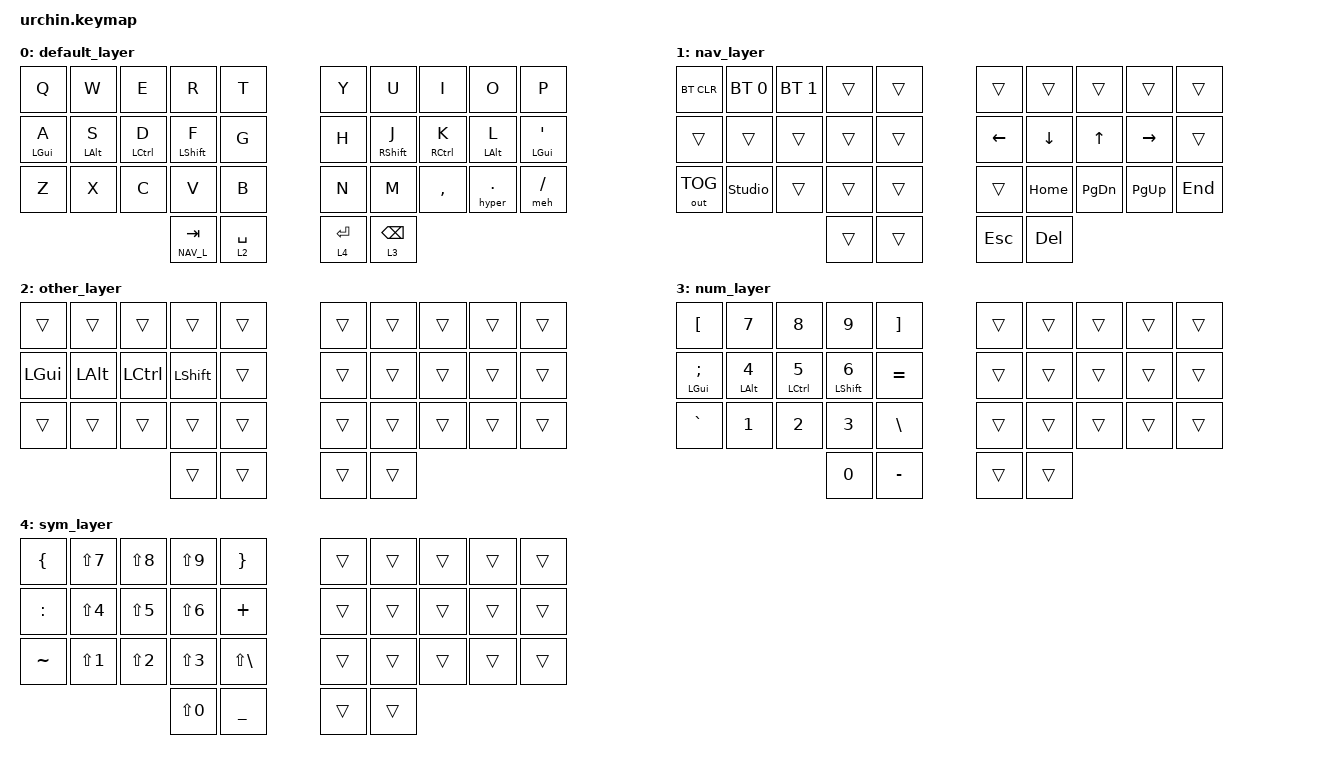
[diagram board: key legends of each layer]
/*
 * Copyright (c) 2020 The ZMK Contributors
 *
 * SPDX-License-Identifier: MIT
 */

#undef ZMK_BEHAVIORS_KEEP_ALL

#include <behaviors.dtsi>
#include <dt-bindings/zmk/bt.h>
#include <dt-bindings/zmk/keys.h>
#include <dt-bindings/zmk/outputs.h>

#define NAV_L 1
#define OTHER_L 2
#define NUM_L 3
#define SYM_L 4

// Using layer taps on thumbs, having quick tap as well helps w/ repeating space/backspace

&lt { quick-tap-ms = <150>; };

/ {
    behaviors {
        hml: homerow_mods_left {
            compatible = "zmk,behavior-hold-tap";
            #binding-cells = <2>;
            tapping-term-ms = <250>;
            flavor = "balanced";
            bindings = <&kp>, <&kp>;
            quick-tap-ms = <175>;
        };

        meh_ht: meh_ht {
            compatible = "zmk,behavior-hold-tap";
            label = "MEH_HT";
            bindings = <&meh>, <&kp>;

            #binding-cells = <2>;
            tapping-term-ms = <150>;
            flavor = "tap-preferred";
        };

        hyper_ht: hyper_ht {
            compatible = "zmk,behavior-hold-tap";
            label = "HYPER_HT";
            bindings = <&hyper>, <&kp>;

            #binding-cells = <2>;
            tapping-term-ms = <200>;
        };

        hmr: homerow_mods_right {
            compatible = "zmk,behavior-hold-tap";
            bindings = <&kp>, <&kp>;
            flavor = "balanced";
            #binding-cells = <2>;
            tapping-term-ms = <250>;
            quick-tap-ms = <175>;
        };
    };

    macros {
        meh: meh {
            compatible = "zmk,behavior-macro";
            #binding-cells = <0>;
            bindings =
                <&macro_press>,
                <&kp LCTRL &kp LSHIFT &kp LALT>,
                <&macro_pause_for_release>,
                <&macro_release>,
                <&kp LCTRL &kp LSHIFT &kp LALT>;

            label = "MEH";
        };

        esc: esc {
            compatible = "zmk,behavior-macro";
            #binding-cells = <0>;
            bindings = <&none>;
            label = "ESC";
        };

        hyper: hyper {
            compatible = "zmk,behavior-macro";
            #binding-cells = <0>;
            bindings =
                <&macro_press>,
                <&meh &kp LEFT_GUI>,
                <&macro_pause_for_release>,
                <&macro_release>,
                <&meh &kp LEFT_GUI>;

            label = "HYPER";
        };
    };

    combos {
        compatible = "zmk,combos";

        esc_combo {
            bindings = <&kp ESCAPE>;
            key-positions = <30 31>;
        };

    };

    keymap {
        compatible = "zmk,keymap";

        default_layer {
            bindings = <
&kp Q        &kp W        &kp E         &kp R          &kp T        &kp Y        &kp U         &kp I         &kp O               &kp P
&hml LGUI A  &hml LALT S  &hml LCTRL D  &hml LSHFT F   &kp G        &kp H        &hmr RSHFT J  &hmr RCTRL K  &hmr LALT L         &hmr LGUI SQT
&kp Z        &kp X        &kp C         &kp V          &kp B        &kp N        &kp M         &kp COMMA     &hyper_ht 0 PERIOD  &meh_ht 0 SLASH
                                        &lt NAV_L TAB  &lt 2 SPACE  &lt 4 ENTER  &lt 3 BSPC
            >;
        };

        nav_layer {
            bindings = <
&bt BT_CLR    &bt BT_SEL 0    &bt BT_SEL 1  &trans  &trans  &trans          &trans    &trans     &trans     &trans
&trans        &trans          &trans        &trans  &trans  &kp LEFT_ARROW  &kp DOWN  &kp UP     &kp RIGHT  &trans
&out OUT_TOG  &studio_unlock  &trans        &trans  &trans  &trans          &kp HOME  &kp PG_DN  &kp PG_UP  &kp END
                                            &trans  &trans  &kp ESC         &kp DEL
            >;
        };

        other_layer {
            bindings = <
&trans        &trans        &trans     &trans          &trans  &trans  &trans  &trans  &trans  &trans
&kp LEFT_GUI  &kp LEFT_ALT  &kp LCTRL  &kp LEFT_SHIFT  &trans  &trans  &trans  &trans  &trans  &trans
&trans        &trans        &trans     &trans          &trans  &trans  &trans  &trans  &trans  &trans
                                       &trans          &trans  &trans  &trans
            >;
        };

        num_layer {
            bindings = <
&kp LBKT            &kp N7            &kp N8         &kp N9              &kp RBKT   &trans  &trans  &trans  &trans  &trans
&hmr LEFT_GUI SEMI  &hml LEFT_ALT N4  &hml LCTRL N5  &hml LEFT_SHIFT N6  &kp EQUAL  &trans  &trans  &trans  &trans  &trans
&kp GRAVE           &kp N1            &kp N2         &kp N3              &kp BSLH   &trans  &trans  &trans  &trans  &trans
                                                     &kp N0              &kp MINUS  &trans  &trans
            >;
        };

        sym_layer {
            bindings = <
&kp LBRC   &kp LS(N7)  &kp LS(N8)  &kp LS(N9)  &kp RBRC      &trans  &trans  &trans  &trans  &trans
&kp COLON  &kp LS(N4)  &kp LS(N5)  &kp LS(N6)  &kp PLUS      &trans  &trans  &trans  &trans  &trans
&kp TILDE  &kp LS(N1)  &kp LS(N2)  &kp LS(N3)  &kp LS(BSLH)  &trans  &trans  &trans  &trans  &trans
                                   &kp LS(N0)  &kp UNDER     &trans  &trans
            >;
        };
    };
};
